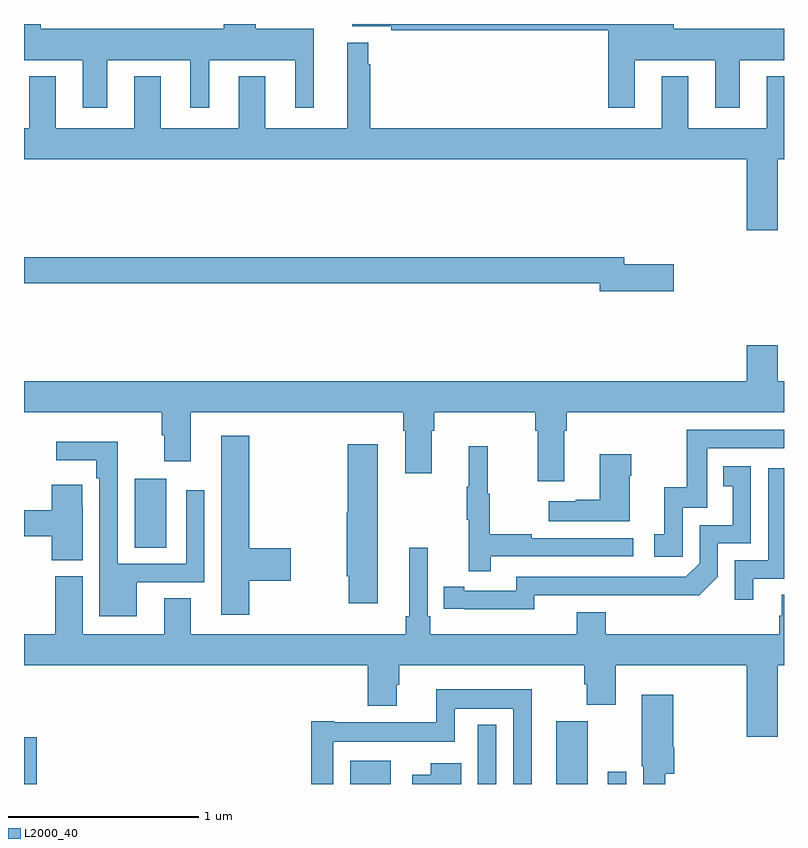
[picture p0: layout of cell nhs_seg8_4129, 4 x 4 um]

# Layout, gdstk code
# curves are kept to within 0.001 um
import gdstk
lib = gdstk.Library(unit=1e-6, precision=1e-09)
def R(c, l, rs):  # rectangles x0, y0, x1, y1
    for r in rs: c.add(gdstk.rectangle(r[:2], r[2:], *l))
def P(c, l, *ps):  # polygons
    for p in ps: c.add(gdstk.Polygon(p, *l))
L2000_40 = (2000, 40)

nhs_seg8_4129 = lib.new_cell('nhs_seg8_4129')
R(nhs_seg8_4129, L2000_40, [(365,1091.9,365.068,1092.145), (366.716,1091.9,366.931,1092.022), (367.389,1091.9,367.485,1092.211), (367.802,1091.9,367.966,1092.231), (368.073,1091.9,368.169,1091.965), (365.582,1093.144,365.749,1093.507)])
P(nhs_seg8_4129, L2000_40, [(368.215,1095.71),(368.639,1095.71),(368.639,1095.459),(368.767,1095.459),(368.767,1095.71),(369,1095.71),(369,1095.874),(368.419,1095.874),(368.419,1095.9),(366.728,1095.9),(366.728,1095.888),(366.934,1095.888),(366.934,1095.868),(368.075,1095.868),(368.075,1095.459),(368.215,1095.459)],
  [(365.437,1095.71),(365.876,1095.71),(365.876,1095.459),(365.974,1095.459),(365.974,1095.71),(366.428,1095.71),(366.428,1095.459),(366.526,1095.459),(366.526,1095.874),(366.22,1095.874),(366.22,1095.9),(366.05,1095.9),(366.05,1095.874),(365.089,1095.874),(365.089,1095.9),(365,1095.9),(365,1095.71),(365.309,1095.71),(365.309,1095.459),(365.437,1095.459)],
  [(368.968,1095.188),(369,1095.188),(369,1095.625),(368.909,1095.625),(368.909,1095.352),(368.497,1095.352),(368.497,1095.625),(368.357,1095.625),(368.357,1095.352),(366.823,1095.352),(366.823,1095.689),(366.812,1095.689),(366.812,1095.802),(366.701,1095.802),(366.701,1095.352),(366.271,1095.352),(366.271,1095.625),(366.131,1095.625),(366.131,1095.352),(365.719,1095.352),(365.719,1095.625),(365.579,1095.625),(365.579,1095.352),(365.167,1095.352),(365.167,1095.625),(365.027,1095.625),(365.027,1095.352),(365,1095.352),(365,1095.188),(368.804,1095.188),(368.804,1094.814),(368.968,1094.814)],
  [(368.419,1094.636),(368.158,1094.636),(368.158,1094.672),(365,1094.672),(365,1094.536),(368.03,1094.536),(368.03,1094.494),(368.419,1094.494)],
  [(365,1093.856),(365.726,1093.856),(365.726,1093.736),(365.738,1093.736),(365.738,1093.599),(365.878,1093.599),(365.878,1093.856),(366.995,1093.856),(366.995,1093.76),(367.007,1093.76),(367.007,1093.536),(367.147,1093.536),(367.147,1093.76),(367.16,1093.76),(367.16,1093.856),(367.691,1093.856),(367.691,1093.76),(367.703,1093.76),(367.703,1093.494),(367.843,1093.494),(367.843,1093.76),(367.856,1093.76),(367.856,1093.856),(369,1093.856),(369,1094.02),(368.968,1094.02),(368.968,1094.209),(368.804,1094.209),(368.804,1094.02),(365,1094.02)],
  [(368.466,1093.353),(368.595,1093.353),(368.595,1093.668),(369,1093.668),(369,1093.764),(368.487,1093.764),(368.487,1093.462),(368.369,1093.462),(368.369,1093.215),(368.316,1093.215),(368.316,1093.095),(368.466,1093.095)],
  [(366.185,1092.971),(366.403,1092.971),(366.403,1093.142),(366.185,1093.142),(366.185,1093.732),(366.038,1093.732),(366.038,1092.792),(366.185,1092.792)],
  [(365.593,1092.963),(365.949,1092.963),(365.949,1093.447),(365.853,1093.447),(365.853,1093.059),(365.493,1093.059),(365.493,1093.702),(365.169,1093.702),(365.169,1093.604),(365.381,1093.604),(365.381,1093.508),(365.397,1093.508),(365.397,1092.782),(365.593,1092.782)],
  [(366.862,1093.687),(366.704,1093.687),(366.704,1093.329),(366.698,1093.329),(366.698,1092.993),(366.709,1092.993),(366.709,1092.852),(366.862,1092.852)],
  [(367.457,1093.098),(368.206,1093.098),(368.206,1093.194),(367.673,1093.194),(367.673,1093.214),(367.45,1093.214),(367.45,1093.428),(367.442,1093.428),(367.442,1093.678),(367.34,1093.678),(367.34,1093.465),(367.329,1093.465),(367.329,1093.291),(367.34,1093.291),(367.34,1093.02),(367.457,1093.02)],
  [(368.188,1093.523),(368.196,1093.523),(368.196,1093.636),(368.03,1093.636),(368.03,1093.397),(367.904,1093.397),(367.904,1093.387),(367.761,1093.387),(367.761,1093.283),(368.188,1093.283)],
  [(367.686,1092.894),(368.554,1092.893),(368.652,1092.99),(368.652,1093.167),(368.826,1093.167),(368.826,1093.573),(368.68,1093.573),(368.68,1093.467),(368.729,1093.467),(368.729,1093.263),(368.556,1093.263),(368.556,1093.062),(368.484,1092.99),(367.59,1092.99),(367.59,1092.918),(367.318,1092.918),(367.318,1092.938),(367.21,1092.938),(367.21,1092.822),(367.686,1092.821)],
  [(368.839,1092.981),(369,1092.981),(369,1093.563),(368.916,1093.563),(368.916,1093.077),(368.742,1093.077),(368.742,1092.87),(368.839,1092.87)],
  [(365.308,1093.361),(365.307,1093.361),(365.307,1093.474),(365.147,1093.474),(365.147,1093.34),(365,1093.34),(365,1093.204),(365.147,1093.204),(365.147,1093.078),(365.308,1093.078)],
  [(368.968,1092.524),(369,1092.524),(369,1092.896),(368.987,1092.896),(368.987,1092.786),(368.975,1092.786),(368.975,1092.688),(368.063,1092.688),(368.063,1092.805),(367.91,1092.805),(367.91,1092.688),(367.139,1092.688),(367.139,1092.784),(367.125,1092.784),(367.125,1093.144),(367.028,1093.144),(367.028,1092.784),(367.009,1092.784),(367.009,1092.688),(365.878,1092.688),(365.878,1092.878),(365.738,1092.878),(365.738,1092.688),(365.308,1092.688),(365.308,1092.993),(365.165,1092.993),(365.165,1092.688),(365,1092.688),(365,1092.524),(366.809,1092.524),(366.809,1092.311),(366.961,1092.311),(366.961,1092.423),(366.974,1092.423),(366.974,1092.524),(367.949,1092.524),(367.949,1092.425),(367.961,1092.425),(367.961,1092.316),(368.114,1092.316),(368.114,1092.524),(368.804,1092.524),(368.804,1092.15),(368.968,1092.15)],
  [(366.627,1092.122),(367.266,1092.122),(367.266,1092.296),(367.575,1092.296),(367.575,1091.9),(367.672,1091.9),(367.672,1092.4),(367.169,1092.4),(367.169,1092.226),(366.634,1092.226),(366.634,1092.229),(366.511,1092.229),(366.511,1091.9),(366.627,1091.9)],
  [(368.375,1091.954),(368.423,1091.954),(368.423,1092.094),(368.418,1092.094),(368.418,1092.37),(368.252,1092.37),(368.252,1091.994),(368.259,1091.994),(368.259,1091.9),(368.375,1091.9)],
  [(367.3,1092.01),(367.142,1092.01),(367.142,1091.95),(367.043,1091.95),(367.043,1091.9),(367.3,1091.9)])

lib.write_gds('nhs_seg8_4129.gds')
